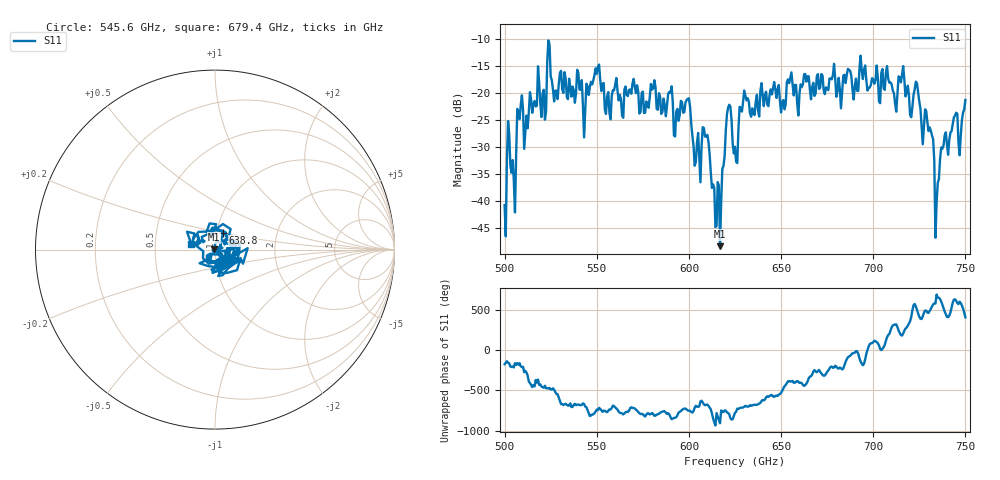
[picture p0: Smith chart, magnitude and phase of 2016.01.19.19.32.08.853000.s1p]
!Created with skrf (http://scikit-rf.org).
# GHz S RI R 50.0
!freq ReS11 ImS11
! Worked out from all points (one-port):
!   401 points, 500 GHz to 750 GHz, reference 50 ohm
!   lowest |S11| = -48.3 dB at 616.9 GHz (marker M1), VSWR 1.01, Z = 49.6 + j0.0588 ohm
!   |S11| at or under -10 dB: start of sweep to end of sweep
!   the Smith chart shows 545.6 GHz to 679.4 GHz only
!   S11 on the Smith chart (normalised r, x): 545.6 GHz: 1.07, -0.19; 638.8 GHz: 1.08, +0.20; 679.4 GHz: 0.77, +0.04
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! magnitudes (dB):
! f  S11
! 500 GHz  -40.7
! 502.5 GHz  -27.5
! 505 GHz  -36.2
! 508.1 GHz  -24.9
! 521.2 GHz  -19.4
! 524.4 GHz  -11.1
! 527.5 GHz  -19.6
! 531.2 GHz  -19.3
! 545.6 GHz  -20.4
! 562.5 GHz  -20.4
! 593.8 GHz  -23.0
! 599.4 GHz  -21.1
! 605 GHz  -27.4
! 608.8 GHz  -28.1
! 613.8 GHz  -37.5
! 616.9 GHz  -48.3
! 621.2 GHz  -22.8
! 625 GHz  -30.0
! 628.8 GHz  -23.5
! 638.8 GHz  -19.7
! 656.2 GHz  -18.5
! 679.4 GHz  -17.4
! 687.5 GHz  -16.0
! 718.8 GHz  -18.7
! 729.4 GHz  -25.4
! 734.4 GHz  -40.3
! 738.1 GHz  -29.8
! 750 GHz  -21.3
